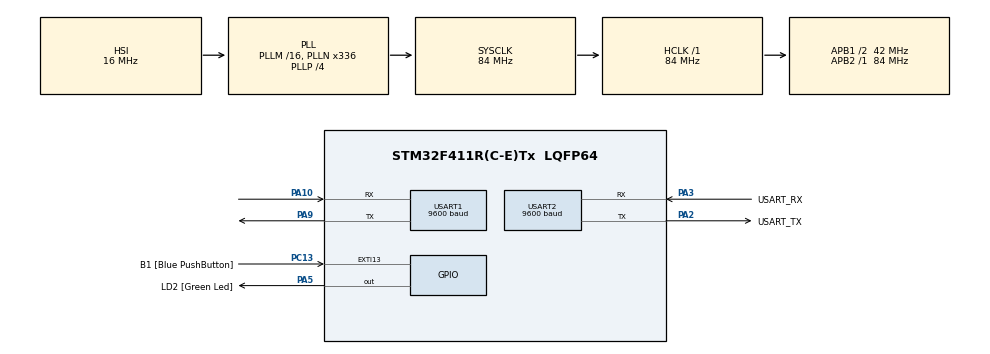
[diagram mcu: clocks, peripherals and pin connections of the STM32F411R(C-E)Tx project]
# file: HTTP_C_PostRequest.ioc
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Mcu.Family=STM32F4
Mcu.Name=STM32F411R(C-E)Tx
Mcu.Package=LQFP64
NVIC.PriorityGroup=NVIC_PRIORITYGROUP_0
PA10.Mode=Asynchronous
PA10.Signal=USART1_RX
PA13.GPIO_Label=TMS
PA13.Mode=Serial_Wire
PA13.Signal=SYS_JTMS-SWDIO
PA14.GPIO_Label=TCK
PA14.Mode=Serial_Wire
PA14.Signal=SYS_JTCK-SWCLK
PA2.GPIO_Label=USART_TX
PA2.Mode=Asynchronous
PA2.Signal=USART2_TX
PA3.GPIO_Label=USART_RX
PA3.Mode=Asynchronous
PA3.Signal=USART2_RX
PA5.GPIO_Label=LD2 [Green Led]
PA5.Signal=GPIO_Output
PA9.Mode=Asynchronous
PA9.Signal=USART1_TX
PB3.GPIO_Label=SWO
PB3.Signal=SYS_JTDO-SWO
PC13-ANTI_TAMP.GPIO_Label=B1 [Blue PushButton]
PC13-ANTI_TAMP.GPIO_ModeDefaultEXTI=GPIO_MODE_IT_FALLING
PC13-ANTI_TAMP.Signal=GPXTI13
PC14-OSC32_IN.Mode=LSE-External-Oscillator
PC14-OSC32_IN.Signal=RCC_OSC32_IN
PC15-OSC32_OUT.Mode=LSE-External-Oscillator
PC15-OSC32_OUT.Signal=RCC_OSC32_OUT
PH0\ -\ OSC_IN.Mode=HSE-External-Clock-Source
PH0\ -\ OSC_IN.Signal=RCC_OSC_IN
PH1\ -\ OSC_OUT.Mode=HSE-External-Clock-Source
PH1\ -\ OSC_OUT.Signal=RCC_OSC_OUT
ProjectManager.HeapSize=0x200
ProjectManager.StackSize=0x400
ProjectManager.TargetToolchain=STM32CubeIDE
RCC.48MHZClocksFreq_Value=84000000
RCC.AHBFreq_Value=84000000
RCC.APB1CLKDivider=RCC_HCLK_DIV2
RCC.APB1Freq_Value=42000000
RCC.APB1TimFreq_Value=84000000
RCC.APB2Freq_Value=84000000
RCC.APB2TimFreq_Value=84000000
RCC.CortexFreq_Value=84000000
RCC.FLatency-AdvancedSettings=FLASH_LATENCY_2
RCC.HCLKFreq_Value=84000000
RCC.HSE_VALUE=8000000
RCC.HSI_VALUE=16000000
RCC.PLLN=336
RCC.PLLP=RCC_PLLP_DIV4
RCC.SYSCLKFreq_VALUE=84000000
RCC.SYSCLKSource=RCC_SYSCLKSOURCE_PLLCLK
RCC.VCOOutputFreq_Value=336000000
USART1.BaudRate=9600
USART1.VirtualMode=VM_ASYNC
USART2.BaudRate=9600
USART2.VirtualMode=VM_ASYNC
board=NUCLEO-F411RE

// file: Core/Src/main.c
/* USER CODE BEGIN Header */
/**
 ******************************************************************************
 * @file           : main.c
 * @brief          : Main program body
 ******************************************************************************
 * @attention
 *
 * Copyright (c) 2024 STMicroelectronics.
 * All rights reserved.
 *
 * This software is licensed under terms that can be found in the LICENSE file
 * in the root directory of this software component.
 * If no LICENSE file comes with this software, it is provided AS-IS.
 *
 ******************************************************************************
 */
/* USER CODE END Header */
#include "main.h"

/* USER CODE BEGIN Includes */
#include <stdio.h>
/* USER CODE END Includes */

UART_HandleTypeDef huart1;
UART_HandleTypeDef huart2;

void SystemClock_Config(void);
static void MX_GPIO_Init(void);
static void MX_USART2_UART_Init(void);
static void MX_USART1_UART_Init(void);

int main(void)
{

  /* USER CODE BEGIN 1 */
	char canMessage[] = { 0x01, 0x23, 0x45, 0x67, 0x89, 0xAB, 0xCD, 0xEF, 0x01,
			0x02, 0x03, 0x04, 0x05, 0x06, 0x07, 0x08, 0x09, 0x0A, 0x0B, 0x0C,
			0x0D, 0x0E };
  /* USER CODE END 1 */

  /* MCU Configuration--------------------------------------------------------*/

  /* Reset of all peripherals, Initializes the Flash interface and the Systick. */
  HAL_Init();

  /* Configure the system clock */
  SystemClock_Config();

  /* Initialize all configured peripherals */
  MX_GPIO_Init();
  MX_USART2_UART_Init();
  MX_USART1_UART_Init();

  /* Infinite loop */
  /* USER CODE BEGIN WHILE */
	while (1) {
		postRequest simplePost;
		jsonField json1;

		json1.key = "CAN Message";
		json1.content = canMessage;

		simplePost.endpoint = "/post";
		simplePost.contentType = JSON;
		simplePost.host = "http://httpbin.org";
		simplePost.json = &json1;

		char *format = postFormat(&simplePost);

		uint8_t test[] = {1,1,1,1};

		HAL_UART_Transmit(&huart1, (uint8_t*) canMessage, sizeof(canMessage), HAL_MAX_DELAY);
		free(format);
		HAL_Delay(50);
    /* USER CODE END WHILE */

	}
}

void SystemClock_Config(void)
{
  RCC_OscInitTypeDef RCC_OscInitStruct = {0};
  RCC_ClkInitTypeDef RCC_ClkInitStruct = {0};

  /** Configure the main internal regulator output voltage
  */
  __HAL_RCC_PWR_CLK_ENABLE();
  __HAL_PWR_VOLTAGESCALING_CONFIG(PWR_REGULATOR_VOLTAGE_SCALE1);

  /** Initializes the RCC Oscillators according to the specified parameters
  * in the RCC_OscInitTypeDef structure.
  */
  RCC_OscInitStruct.OscillatorType = RCC_OSCILLATORTYPE_HSI;
  RCC_OscInitStruct.HSIState = RCC_HSI_ON;
  RCC_OscInitStruct.HSICalibrationValue = RCC_HSICALIBRATION_DEFAULT;
  RCC_OscInitStruct.PLL.PLLState = RCC_PLL_ON;
  RCC_OscInitStruct.PLL.PLLSource = RCC_PLLSOURCE_HSI;
  RCC_OscInitStruct.PLL.PLLM = 16;
  RCC_OscInitStruct.PLL.PLLN = 336;
  RCC_OscInitStruct.PLL.PLLP = RCC_PLLP_DIV4;
  RCC_OscInitStruct.PLL.PLLQ = 4;
  if (HAL_RCC_OscConfig(&RCC_OscInitStruct) != HAL_OK)
  {
    Error_Handler();
  }

  /** Initializes the CPU, AHB and APB buses clocks
  */
  RCC_ClkInitStruct.ClockType = RCC_CLOCKTYPE_HCLK|RCC_CLOCKTYPE_SYSCLK
                              |RCC_CLOCKTYPE_PCLK1|RCC_CLOCKTYPE_PCLK2;
  RCC_ClkInitStruct.SYSCLKSource = RCC_SYSCLKSOURCE_PLLCLK;
  RCC_ClkInitStruct.AHBCLKDivider = RCC_SYSCLK_DIV1;
  RCC_ClkInitStruct.APB1CLKDivider = RCC_HCLK_DIV2;
  RCC_ClkInitStruct.APB2CLKDivider = RCC_HCLK_DIV1;

  if (HAL_RCC_ClockConfig(&RCC_ClkInitStruct, FLASH_LATENCY_2) != HAL_OK)
  {
    Error_Handler();
  }
}

static void MX_USART1_UART_Init(void)
{

  huart1.Instance = USART1;
  huart1.Init.BaudRate = 9600;
  huart1.Init.WordLength = UART_WORDLENGTH_8B;
  huart1.Init.StopBits = UART_STOPBITS_1;
  huart1.Init.Parity = UART_PARITY_NONE;
  huart1.Init.Mode = UART_MODE_TX_RX;
  huart1.Init.HwFlowCtl = UART_HWCONTROL_NONE;
  huart1.Init.OverSampling = UART_OVERSAMPLING_16;
  if (HAL_UART_Init(&huart1) != HAL_OK)
  {
    Error_Handler();
  }

}

static void MX_USART2_UART_Init(void)
{

  huart2.Instance = USART2;
  huart2.Init.BaudRate = 9600;
  huart2.Init.WordLength = UART_WORDLENGTH_8B;
  huart2.Init.StopBits = UART_STOPBITS_1;
  huart2.Init.Parity = UART_PARITY_NONE;
  huart2.Init.Mode = UART_MODE_TX_RX;
  huart2.Init.HwFlowCtl = UART_HWCONTROL_NONE;
  huart2.Init.OverSampling = UART_OVERSAMPLING_16;
  if (HAL_UART_Init(&huart2) != HAL_OK)
  {
    Error_Handler();
  }

}

static void MX_GPIO_Init(void)
{
  GPIO_InitTypeDef GPIO_InitStruct = {0};

  /* GPIO Ports Clock Enable */
  __HAL_RCC_GPIOC_CLK_ENABLE();
  __HAL_RCC_GPIOH_CLK_ENABLE();
  __HAL_RCC_GPIOA_CLK_ENABLE();
  __HAL_RCC_GPIOB_CLK_ENABLE();

  /*Configure GPIO pin Output Level */
  HAL_GPIO_WritePin(LD2_GPIO_Port, LD2_Pin, GPIO_PIN_RESET);

  /*Configure GPIO pin : B1_Pin */
  GPIO_InitStruct.Pin = B1_Pin;
  GPIO_InitStruct.Mode = GPIO_MODE_IT_FALLING;
  GPIO_InitStruct.Pull = GPIO_NOPULL;
  HAL_GPIO_Init(B1_GPIO_Port, &GPIO_InitStruct);

  /*Configure GPIO pin : LD2_Pin */
  GPIO_InitStruct.Pin = LD2_Pin;
  GPIO_InitStruct.Mode = GPIO_MODE_OUTPUT_PP;
  GPIO_InitStruct.Pull = GPIO_NOPULL;
  GPIO_InitStruct.Speed = GPIO_SPEED_FREQ_LOW;
  HAL_GPIO_Init(LD2_GPIO_Port, &GPIO_InitStruct);

}

void Error_Handler(void)
{
	__disable_irq();
	while (1) {
	}
}
